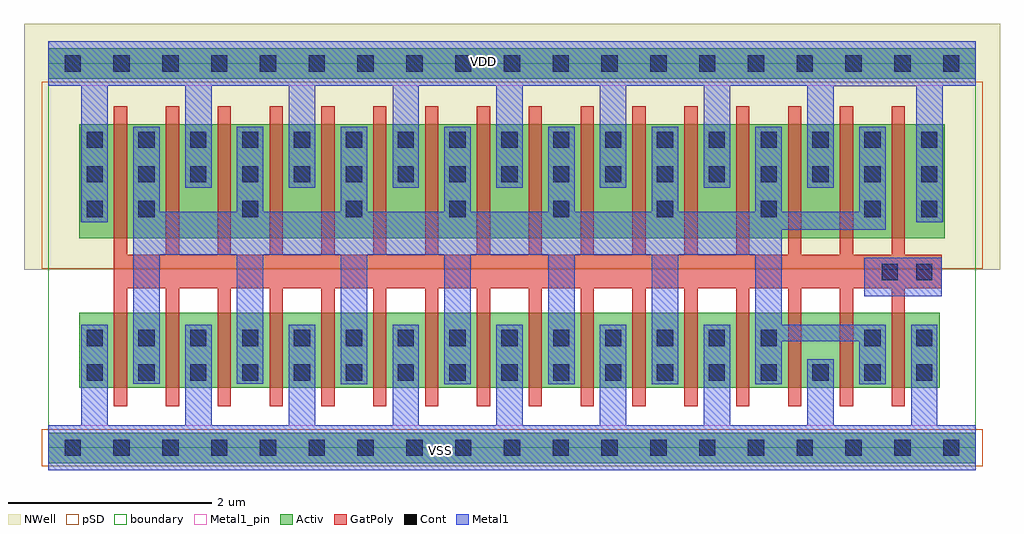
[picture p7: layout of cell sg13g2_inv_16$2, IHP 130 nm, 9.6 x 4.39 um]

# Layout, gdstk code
import gdstk
lib = gdstk.Library(unit=1e-6, precision=5e-09)
def R(c, l, rs):  # rectangles x0, y0, x1, y1
    for r in rs: c.add(gdstk.rectangle(r[:2], r[2:], *l))
def A(c, l, x, y, w, h, nx, ny, dx, dy):  # array of equal rectangles
    R(c, l, [(x+i*dx, y+j*dy, x+i*dx+w, y+j*dy+h) for i in range(nx) for j in range(ny)])
def P(c, l, *ps):  # polygons
    for p in ps: c.add(gdstk.Polygon(p, *l))
Activ = (1, 0)
GatPoly = (5, 0)
Cont = (6, 0)
Metal1 = (8, 0)
Metal1_pin = (8, 2)
pSD = (14, 0)
NWell = (31, 0)
boundary = (189, 4)

sg13g2_inv_16_2 = lib.new_cell('sg13g2_inv_16$2')
R(sg13g2_inv_16_2, Activ, [(8.365,163.58,17.485,163.88), (8.67,164.32,17.13,165.06), (8.67,165.79,17.18,166.91), (8.365,167.36,17.485,167.66)])
R(sg13g2_inv_16_2, GatPoly, [(16.79,165.3,17.15,165.63)])
P(sg13g2_inv_16_2, GatPoly, [(9.01,164.14),(9.01,167.09),(9.14,167.09),(9.14,165.63),(9.52,165.63),(9.52,167.09),(9.65,167.09),(9.65,165.63),(10.03,165.63),(10.03,167.09),(10.16,167.09),(10.16,165.63),(10.54,165.63),(10.54,167.09),(10.67,167.09),(10.67,165.63),(11.05,165.63),(11.05,167.09),(11.18,167.09),(11.18,165.63),(11.56,165.63),(11.56,167.09),(11.69,167.09),(11.69,165.63),(12.07,165.63),(12.07,167.09),(12.2,167.09),(12.2,165.63),(12.58,165.63),(12.58,167.09),(12.71,167.09),(12.71,165.63),(13.09,165.63),(13.09,167.09),(13.22,167.09),(13.22,165.63),(13.6,165.63),(13.6,167.09),(13.73,167.09),(13.73,165.63),(14.11,165.63),(14.11,167.09),(14.24,167.09),(14.24,165.63),(14.62,165.63),(14.62,167.09),(14.75,167.09),(14.75,165.63),(15.13,165.63),(15.13,167.09),(15.26,167.09),(15.26,165.63),(15.64,165.63),(15.64,167.09),(15.77,167.09),(15.77,165.63),(16.15,165.63),(16.15,167.09),(16.28,167.09),(16.28,165.63),(16.66,165.63),(16.66,167.09),(16.79,167.09),(16.79,164.14),(16.66,164.14),(16.66,165.3),(16.28,165.3),(16.28,164.14),(16.15,164.14),(16.15,165.3),(15.77,165.3),(15.77,164.14),(15.64,164.14),(15.64,165.3),(15.26,165.3),(15.26,164.14),(15.13,164.14),(15.13,165.3),(14.75,165.3),(14.75,164.14),(14.62,164.14),(14.62,165.3),(14.24,165.3),(14.24,164.14),(14.11,164.14),(14.11,165.3),(13.73,165.3),(13.73,164.14),(13.6,164.14),(13.6,165.3),(13.22,165.3),(13.22,164.14),(13.09,164.14),(13.09,165.3),(12.71,165.3),(12.71,164.14),(12.58,164.14),(12.58,165.3),(12.2,165.3),(12.2,164.14),(12.07,164.14),(12.07,165.3),(11.69,165.3),(11.69,164.14),(11.56,164.14),(11.56,165.3),(11.18,165.3),(11.18,164.14),(11.05,164.14),(11.05,165.3),(10.67,165.3),(10.67,164.14),(10.54,164.14),(10.54,165.3),(10.16,165.3),(10.16,164.14),(10.03,164.14),(10.03,165.3),(9.65,165.3),(9.65,164.14),(9.52,164.14),(9.52,165.3),(9.14,165.3),(9.14,164.14)])
A(sg13g2_inv_16_2, Cont, 8.74, 164.39, 0.16, 0.16, 17, 1, 0.51, 0)
A(sg13g2_inv_16_2, Cont, 8.74, 164.73, 0.16, 0.16, 14, 1, 0.51, 0)
A(sg13g2_inv_16_2, Cont, 9.25, 166, 0.16, 0.16, 8, 1, 1.02, 0)
A(sg13g2_inv_16_2, Cont, 16.95, 166, 0.16, 0.16, 1, 3, 0, 0.34)
A(sg13g2_inv_16_2, Cont, 8.74, 166.34, 0.16, 0.16, 16, 2, 0.51, 0.34)
R(sg13g2_inv_16_2, Cont, [(8.525,163.65,8.685,163.81), (8.525,163.65,8.685,163.81), (9.005,163.65,9.165,163.81), (9.005,163.65,9.165,163.81), (9.485,163.65,9.645,163.81), (9.485,163.65,9.645,163.81), (9.965,163.65,10.125,163.81), (9.965,163.65,10.125,163.81), (10.445,163.65,10.605,163.81), (10.445,163.65,10.605,163.81), (10.925,163.65,11.085,163.81), (10.925,163.65,11.085,163.81), (11.405,163.65,11.565,163.81), (11.405,163.65,11.565,163.81), (11.885,163.65,12.045,163.81), (11.885,163.65,12.045,163.81), (12.365,163.65,12.525,163.81), (12.365,163.65,12.525,163.81), (12.845,163.65,13.005,163.81), (12.845,163.65,13.005,163.81), (13.325,163.65,13.485,163.81), (13.325,163.65,13.485,163.81), (13.805,163.65,13.965,163.81), (13.805,163.65,13.965,163.81), (14.285,163.65,14.445,163.81), (14.285,163.65,14.445,163.81), (14.765,163.65,14.925,163.81), (14.765,163.65,14.925,163.81), (15.245,163.65,15.405,163.81), (15.245,163.65,15.405,163.81), (15.725,163.65,15.885,163.81), (15.725,163.65,15.885,163.81), (16.205,163.65,16.365,163.81), (16.205,163.65,16.365,163.81), (16.685,163.65,16.845,163.81), (16.685,163.65,16.845,163.81), (17.165,163.65,17.325,163.81), (17.165,163.65,17.325,163.81), (16.39,164.73,16.55,164.89), (16.9,164.73,17.06,164.89), (16.56,165.38,16.72,165.54), (16.9,165.38,17.06,165.54), (8.74,166,8.9,166.16), (8.525,167.43,8.685,167.59), (8.525,167.43,8.685,167.59), (9.005,167.43,9.165,167.59), (9.005,167.43,9.165,167.59), (9.485,167.43,9.645,167.59), (9.485,167.43,9.645,167.59), (9.965,167.43,10.125,167.59), (9.965,167.43,10.125,167.59), (10.445,167.43,10.605,167.59), (10.445,167.43,10.605,167.59), (10.925,167.43,11.085,167.59), (10.925,167.43,11.085,167.59), (11.405,167.43,11.565,167.59), (11.405,167.43,11.565,167.59), (11.885,167.43,12.045,167.59), (11.885,167.43,12.045,167.59), (12.365,167.43,12.525,167.59), (12.365,167.43,12.525,167.59), (12.845,167.43,13.005,167.59), (12.845,167.43,13.005,167.59), (13.325,167.43,13.485,167.59), (13.325,167.43,13.485,167.59), (13.805,167.43,13.965,167.59), (13.805,167.43,13.965,167.59), (14.285,167.43,14.445,167.59), (14.285,167.43,14.445,167.59), (14.765,167.43,14.925,167.59), (14.765,167.43,14.925,167.59), (15.245,167.43,15.405,167.59), (15.245,167.43,15.405,167.59), (15.725,167.43,15.885,167.59), (15.725,167.43,15.885,167.59), (16.205,167.43,16.365,167.59), (16.205,167.43,16.365,167.59), (16.685,167.43,16.845,167.59), (16.685,167.43,16.845,167.59), (17.165,167.43,17.325,167.59), (17.165,167.43,17.325,167.59)])
R(sg13g2_inv_16_2, Metal1, [(16.39,165.22,17.15,165.6)])
P(sg13g2_inv_16_2, Metal1, [(8.365,163.51),(8.365,163.95),(8.69,163.95),(8.69,164.94),(8.95,164.94),(8.95,163.95),(9.71,163.95),(9.71,164.94),(9.97,164.94),(9.97,163.95),(10.73,163.95),(10.73,164.94),(10.99,164.94),(10.99,163.95),(11.75,163.95),(11.75,164.94),(12.01,164.94),(12.01,163.95),(12.77,163.95),(12.77,164.94),(13.03,164.94),(13.03,163.95),(13.79,163.95),(13.79,164.94),(14.05,164.94),(14.05,163.95),(14.81,163.95),(14.81,164.94),(15.07,164.94),(15.07,163.95),(15.83,163.95),(15.83,164.6),(16.09,164.6),(16.09,163.95),(16.85,163.95),(16.85,164.94),(17.11,164.94),(17.11,163.95),(17.485,163.95),(17.485,163.51)],
  [(8.69,165.95),(8.69,167.29),(8.365,167.29),(8.365,167.73),(17.485,167.73),(17.485,167.29),(17.16,167.29),(17.16,165.95),(16.9,165.95),(16.9,167.285),(16.09,167.285),(16.09,166.29),(15.83,166.29),(15.83,167.29),(15.07,167.29),(15.07,166.29),(14.81,166.29),(14.81,167.29),(14.05,167.29),(14.05,166.29),(13.79,166.29),(13.79,167.29),(13.03,167.29),(13.03,166.29),(12.77,166.29),(12.77,167.29),(12.01,167.29),(12.01,166.29),(11.75,166.29),(11.75,167.29),(10.99,167.29),(10.99,166.29),(10.73,166.29),(10.73,167.29),(9.97,167.29),(9.97,166.29),(9.71,166.29),(9.71,167.29),(8.95,167.29),(8.95,165.95)],
  [(11.24,164.355),(11.24,165.63),(10.48,165.63),(10.48,164.36),(10.22,164.36),(10.22,165.63),(9.46,165.63),(9.46,164.36),(9.2,164.36),(9.2,166.89),(9.46,166.89),(9.46,166.05),(10.22,166.05),(10.22,166.89),(10.48,166.89),(10.48,166.05),(11.24,166.05),(11.24,166.89),(11.5,166.89),(11.5,166.05),(12.26,166.05),(12.26,166.89),(12.52,166.89),(12.52,166.05),(13.28,166.05),(13.28,166.89),(13.54,166.89),(13.54,166.05),(14.3,166.05),(14.3,166.89),(14.56,166.89),(14.56,166.05),(15.32,166.05),(15.32,166.89),(15.58,166.89),(15.58,166.05),(16.34,166.05),(16.34,166.89),(16.6,166.89),(16.6,165.875),(15.58,165.875),(15.58,164.94),(16.6,164.94),(16.6,164.355),(16.34,164.355),(16.34,164.78),(15.58,164.78),(15.58,164.355),(15.32,164.355),(15.32,165.63),(14.56,165.63),(14.56,164.355),(14.3,164.355),(14.3,165.63),(13.54,165.63),(13.54,164.355),(13.28,164.355),(13.28,165.63),(12.52,165.63),(12.52,164.355),(12.26,164.355),(12.26,165.63),(11.5,165.63),(11.5,164.355)])
R(sg13g2_inv_16_2, Metal1_pin, [(8.365,163.51,17.485,163.95), (8.365,167.29,17.485,167.73)])
R(sg13g2_inv_16_2, pSD, [(8.3,163.55,17.555,163.91), (8.3,165.49,17.555,167.33)])
R(sg13g2_inv_16_2, NWell, [(8.125,165.48,17.725,167.9)])
R(sg13g2_inv_16_2, boundary, [(8.365,163.73,17.485,167.51)])
sg13g2_inv_16_2.add(gdstk.Label('VSS', (12.225,163.705), layer=8, texttype=25))
sg13g2_inv_16_2.add(gdstk.Label('VDD', (12.645,167.525), layer=8, texttype=25))

lib.write_gds('sg13g2_inv_16_2.gds')
